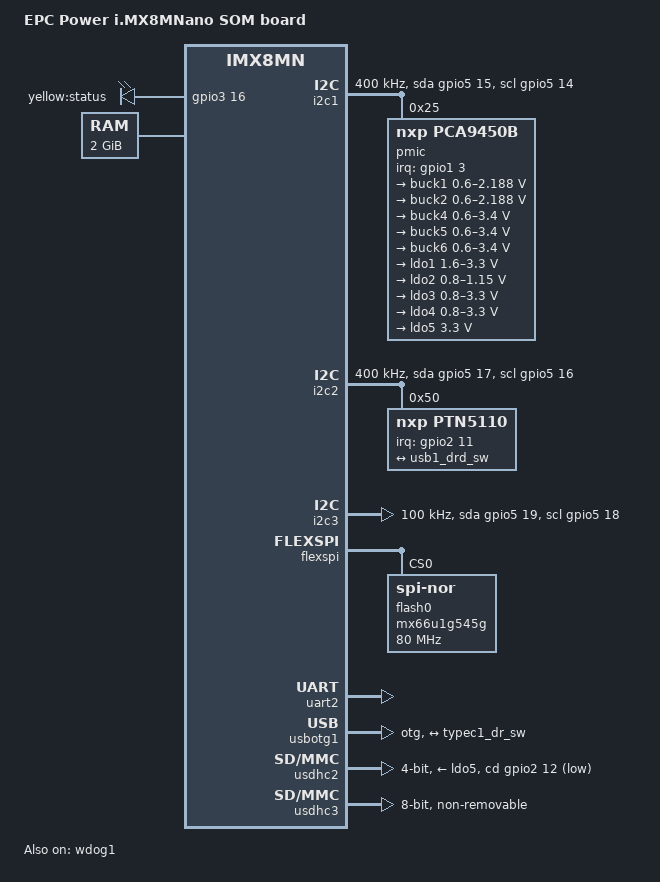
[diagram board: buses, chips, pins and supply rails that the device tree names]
// SPDX-License-Identifier: (GPL-2.0+ OR MIT)
/*
 * Copyright 2019 NXP
 * Copyright 2023 EPC Power
 */

/dts-v1/;

#include <dt-bindings/usb/pd.h>
#include <dt-bindings/net/mscc-phy-vsc8531.h>
#include <dt-bindings/interrupt-controller/irq.h>

#include "imx8mn.dtsi"

/ {
	model = "EPC Power i.MX8MNano SOM board";
	compatible = "fsl,imx8mn";

	chosen {
		bootargs = "console=ttymxc1,115200 earlycon=ec_imx6q,0x30890000,115200";
		stdout-path = &uart2;
	};

	gpio-leds {
		compatible = "gpio-leds";
		pinctrl-names = "default";
		pinctrl-0 = <&pinctrl_gpio_led>;

		status {
			label = "yellow:status";
			gpios = <&gpio3 16 GPIO_ACTIVE_HIGH>;
			default-state = "on";
		};
	};

	memory@40000000 {
		device_type = "memory";
		reg = <0x0 0x40000000 0 0x80000000>;
	};
};

&A53_0 {
	cpu-supply = <&buck2>;
};

&A53_1 {
	cpu-supply = <&buck2>;
};

&A53_2 {
	cpu-supply = <&buck2>;
};

&A53_3 {
	cpu-supply = <&buck2>;
};

&ddrc {
	operating-points-v2 = <&ddrc_opp_table>;

	ddrc_opp_table: opp-table {
		compatible = "operating-points-v2";

		opp-25M {
			opp-hz = /bits/ 64 <25000000>;
		};

		opp-100M {
			opp-hz = /bits/ 64 <100000000>;
		};

		opp-600M {
			opp-hz = /bits/ 64 <600000000>;
		};
	};
};

&fec1 {
	pinctrl-names = "default";
	pinctrl-0 = <&pinctrl_fec1>;
	phy-mode = "rgmii-id";
	phy-handle = <&ethphy0>;
	fsl,magic-packet;
	status = "disabled";

	mdio {
		#address-cells = <1>;
		#size-cells = <0>;

		ethphy0: ethernet-phy@1 {
			reg = <1>;
			compatible = "ethernet-phy-id0007.0772";
			reset-gpios = <&gpio3 21 GPIO_ACTIVE_LOW>;  /* PHY RST */
			reset-assert-us = <500>;
			reset-deassert-us = <500>;
			interrupt-parent = <&gpio4>;
			interrupts = <25 IRQ_TYPE_LEVEL_LOW>;  /* MDINT */
			vsc8531,led-0-mode = <VSC8531_LINK_100_1000_ACTIVITY>;
			vsc8531,led-1-mode = <VSC8531_LINK_ACTIVITY>;
			vsc8531,led-0-combine-disable;
		};
	};
};

&i2c1 {
	clock-frequency = <400000>;
	pinctrl-names = "default", "gpio";
	pinctrl-0 = <&pinctrl_i2c1>;
	pinctrl-1 = <&pinctrl_i2c1_gpio>;
	scl-gpios = <&gpio5 14 GPIO_ACTIVE_HIGH>;
	sda-gpios = <&gpio5 15 GPIO_ACTIVE_HIGH>;
	status = "okay";

	pmic: pca9450@25 {
		compatible = "nxp,pca9450b";
		reg = <0x25>;
		pinctrl-names = "default";
		pinctrl-0 = <&pinctrl_pmic>;
		interrupt-parent = <&gpio1>;
		interrupts = <3 IRQ_TYPE_LEVEL_LOW>;

		regulators {
			buck1: BUCK1{
				regulator-name = "BUCK1";
				regulator-min-microvolt = <600000>;
				regulator-max-microvolt = <2187500>;
				regulator-boot-on;
				regulator-always-on;
				regulator-ramp-delay = <3125>;
			};

			buck2: BUCK2 {
				regulator-name = "BUCK2";
				regulator-min-microvolt = <600000>;
				regulator-max-microvolt = <2187500>;
				regulator-boot-on;
				regulator-always-on;
				regulator-ramp-delay = <3125>;
				nxp,dvs-run-voltage = <950000>;
				nxp,dvs-standby-voltage = <850000>;
			};

			buck4: BUCK4{
				regulator-name = "BUCK4";
				regulator-min-microvolt = <600000>;
				regulator-max-microvolt = <3400000>;
				regulator-boot-on;
				regulator-always-on;
			};

			buck5: BUCK5{
				regulator-name = "BUCK5";
				regulator-min-microvolt = <600000>;
				regulator-max-microvolt = <3400000>;
				regulator-boot-on;
				regulator-always-on;
			};

			buck6: BUCK6 {
				regulator-name = "BUCK6";
				regulator-min-microvolt = <600000>;
				regulator-max-microvolt = <3400000>;
				regulator-boot-on;
				regulator-always-on;
			};

			ldo1: LDO1 {
				regulator-name = "LDO1";
				regulator-min-microvolt = <1600000>;
				regulator-max-microvolt = <3300000>;
				regulator-boot-on;
				regulator-always-on;
			};

			ldo2: LDO2 {
				regulator-name = "LDO2";
				regulator-min-microvolt = <800000>;
				regulator-max-microvolt = <1150000>;
				regulator-boot-on;
				regulator-always-on;
			};

			ldo3: LDO3 {
				regulator-name = "LDO3";
				regulator-min-microvolt = <800000>;
				regulator-max-microvolt = <3300000>;
				regulator-boot-on;
				regulator-always-on;
			};

			ldo4: LDO4 {
				regulator-name = "LDO4";
				regulator-min-microvolt = <800000>;
				regulator-max-microvolt = <3300000>;
				regulator-boot-on;
				regulator-always-on;
			};

			ldo5: LDO5 {
				regulator-name = "LDO5";
				regulator-min-microvolt = <3300000>;
				regulator-max-microvolt = <3300000>;
				regulator-boot-on;
				regulator-always-on;
			};
		};
	};
};

&i2c2 {
	clock-frequency = <400000>;
	pinctrl-names = "default", "gpio";
	pinctrl-0 = <&pinctrl_i2c2>;
	pinctrl-1 = <&pinctrl_i2c2_gpio>;
	scl-gpios = <&gpio5 16 GPIO_ACTIVE_HIGH>;
	sda-gpios = <&gpio5 17 GPIO_ACTIVE_HIGH>;
	status = "okay";

	ptn5110: tcpc@50 {
		compatible = "nxp,ptn5110";
		pinctrl-names = "default";
		pinctrl-0 = <&pinctrl_typec1>;
		reg = <0x50>;
		interrupt-parent = <&gpio2>;
		interrupts = <11 IRQ_TYPE_LEVEL_LOW>;
		status = "okay";

		port {
			typec1_dr_sw: endpoint {
				remote-endpoint = <&usb1_drd_sw>;
			};
		};

		typec1_con: connector {
			compatible = "usb-c-connector";
			label = "USB-C";
			power-role = "dual";
			data-role = "dual";
			try-power-role = "sink";
			source-pdos = <PDO_FIXED(5000, 3000, PDO_FIXED_USB_COMM)>;
			sink-pdos = <PDO_FIXED(5000, 3000, PDO_FIXED_USB_COMM)
				     PDO_VAR(5000, 20000, 3000)>;
			op-sink-microwatt = <15000000>;
			self-powered;
		};
	};
};

&i2c3 {
	clock-frequency = <100000>;
	pinctrl-names = "default", "gpio";
	pinctrl-0 = <&pinctrl_i2c3>;
	pinctrl-1 = <&pinctrl_i2c3_gpio>;
	scl-gpios = <&gpio5 18 GPIO_ACTIVE_HIGH>;
	sda-gpios = <&gpio5 19 GPIO_ACTIVE_HIGH>;
	status = "okay";
};

&flexspi {
	pinctrl-names = "default";
	pinctrl-0 = <&pinctrl_flexspi0>;
	status = "okay";

	flash0: mx66u1g545g@0 {
		reg = <0>;
		#address-cells = <1>;
		#size-cells = <1>;
		compatible = "jedec,spi-nor";
		spi-max-frequency = <80000000>;
		spi-tx-bus-width = <1>;
		spi-rx-bus-width = <4>;
	};
};

&uart2 { /* console */
	pinctrl-names = "default";
	pinctrl-0 = <&pinctrl_uart2>;
	status = "okay";
};

&usbotg1 {
	dr_mode = "otg";
	hnp-disable;
	srp-disable;
	adp-disable;
	usb-role-switch;
	disable-over-current;
	samsung,picophy-pre-emp-curr-control = <3>;
	samsung,picophy-dc-vol-level-adjust = <7>;
	status = "okay";
	extcon = <&ptn5110>;

	port {
		usb1_drd_sw: endpoint {
			remote-endpoint = <&typec1_dr_sw>;
		};
	};
};

&usdhc2 {
	assigned-clocks = <&clk IMX8MN_CLK_USDHC2>;
	assigned-clock-rates = <200000000>;
	pinctrl-names = "default", "state_100mhz", "state_200mhz";
	pinctrl-0 = <&pinctrl_usdhc2>, <&pinctrl_usdhc2_gpio>;
	pinctrl-1 = <&pinctrl_usdhc2_100mhz>, <&pinctrl_usdhc2_gpio>;
	pinctrl-2 = <&pinctrl_usdhc2_200mhz>, <&pinctrl_usdhc2_gpio>;
	cd-gpios = <&gpio2 12 GPIO_ACTIVE_LOW>;
	disable-wp;
	no-1-8-v;
	bus-width = <4>;
	vmmc-supply = <&ldo5>;
	status = "okay";
};

&usdhc3 {
	assigned-clocks = <&clk IMX8MN_CLK_USDHC3_ROOT>;
	assigned-clock-rates = <400000000>;
	pinctrl-names = "default", "state_100mhz", "state_200mhz";
	pinctrl-0 = <&pinctrl_usdhc3>;
	pinctrl-1 = <&pinctrl_usdhc3_100mhz>;
	pinctrl-2 = <&pinctrl_usdhc3_200mhz>;
	bus-width = <8>;
	non-removable;
	status = "okay";
};

&wdog1 {
	pinctrl-names = "default";
	pinctrl-0 = <&pinctrl_wdog>;
	fsl,ext-reset-output;
	status = "okay";
};

&iomuxc {
	pinctrl_fec1: fec1grp {
		fsl,pins = <
			MX8MN_IOMUXC_ENET_MDC_ENET1_MDC				0x3
			MX8MN_IOMUXC_ENET_MDIO_ENET1_MDIO			0x3
			MX8MN_IOMUXC_ENET_TD3_ENET1_RGMII_TD3		0x11f
			MX8MN_IOMUXC_ENET_TD2_ENET1_RGMII_TD2		0x11f
			MX8MN_IOMUXC_ENET_TD1_ENET1_RGMII_TD1		0x11f
			MX8MN_IOMUXC_ENET_TD0_ENET1_RGMII_TD0		0x11f
			MX8MN_IOMUXC_ENET_RD3_ENET1_RGMII_RD3		0x81
			MX8MN_IOMUXC_ENET_RD2_ENET1_RGMII_RD2		0x81
			MX8MN_IOMUXC_ENET_RD1_ENET1_RGMII_RD1		0x81
			MX8MN_IOMUXC_ENET_RD0_ENET1_RGMII_RD0		0x81
			MX8MN_IOMUXC_ENET_TXC_ENET1_RGMII_TXC		0x11f
			MX8MN_IOMUXC_ENET_RXC_ENET1_RGMII_RXC		0x81
			MX8MN_IOMUXC_ENET_RX_CTL_ENET1_RGMII_RX_CTL	0x81
			MX8MN_IOMUXC_ENET_TX_CTL_ENET1_RGMII_TX_CTL	0x11f
			MX8MN_IOMUXC_SAI5_RXD0_GPIO3_IO21			0x119  /* PHY RST */
			MX8MN_IOMUXC_SAI2_TXC_GPIO4_IO25			0x29   /* MDINT */
		>;
	};

	pinctrl_flexspi0: flexspi0grp {
		fsl,pins = <
			MX8MN_IOMUXC_NAND_ALE_QSPI_A_SCLK 0x1c4
			MX8MN_IOMUXC_NAND_CE0_B_QSPI_A_SS0_B 0x84
			MX8MN_IOMUXC_NAND_DQS_QSPI_A_DQS 0x40000084
			MX8MN_IOMUXC_NAND_DATA00_QSPI_A_DATA0 0x84
			MX8MN_IOMUXC_NAND_DATA01_QSPI_A_DATA1 0x84
			MX8MN_IOMUXC_NAND_DATA02_QSPI_A_DATA2 0x84
			MX8MN_IOMUXC_NAND_DATA03_QSPI_A_DATA3 0x84
		>;
	};

	pinctrl_gpio_led: gpioledgrp {
		fsl,pins = <
			MX8MN_IOMUXC_NAND_READY_B_GPIO3_IO16	0x19
		>;
	};

	pinctrl_ir: irgrp {
		fsl,pins = <
			MX8MN_IOMUXC_GPIO1_IO13_GPIO1_IO13              0x4f
		>;
	};

	pinctrl_i2c1: i2c1grp {
		fsl,pins = <
			MX8MN_IOMUXC_I2C1_SCL_I2C1_SCL		0x400001c3
			MX8MN_IOMUXC_I2C1_SDA_I2C1_SDA		0x400001c3
		>;
	};

	pinctrl_i2c2: i2c2grp {
		fsl,pins = <
			MX8MN_IOMUXC_I2C2_SCL_I2C2_SCL		0x400001c3
			MX8MN_IOMUXC_I2C2_SDA_I2C2_SDA		0x400001c3
		>;
	};

	pinctrl_i2c3: i2c3grp {
		fsl,pins = <
			MX8MN_IOMUXC_I2C3_SCL_I2C3_SCL		0x400001c3
			MX8MN_IOMUXC_I2C3_SDA_I2C3_SDA		0x400001c3
		>;
	};

	pinctrl_i2c1_gpio: i2c1grp-gpio {
		fsl,pins = <
			MX8MN_IOMUXC_I2C1_SCL_GPIO5_IO14        	0x1c3
			MX8MN_IOMUXC_I2C1_SDA_GPIO5_IO15        	0x1c3
		>;
	};

	pinctrl_i2c2_gpio: i2c2grp-gpio {
		fsl,pins = <
			MX8MN_IOMUXC_I2C2_SCL_GPIO5_IO16		0x1c3
			MX8MN_IOMUXC_I2C2_SDA_GPIO5_IO17		0x1c3
		>;
	};

	pinctrl_i2c3_gpio: i2c3grp-gpio {
		fsl,pins = <
			MX8MN_IOMUXC_I2C3_SCL_GPIO5_IO18		0x1c3
			MX8MN_IOMUXC_I2C3_SDA_GPIO5_IO19		0x1c3
		>;
	};

	pinctrl_pmic: pmicirqgrp {
		fsl,pins = <
			MX8MN_IOMUXC_GPIO1_IO03_GPIO1_IO3	0x141
		>;
	};

	pinctrl_typec1: typec1grp {
		fsl,pins = <
			MX8MN_IOMUXC_SD1_STROBE_GPIO2_IO11	0x159
		>;
	};

	pinctrl_uart2: uart2grp {
		fsl,pins = <
			MX8MN_IOMUXC_UART2_RXD_UART2_DCE_RX	0x140
			MX8MN_IOMUXC_UART2_TXD_UART2_DCE_TX	0x140
		>;
	};

	pinctrl_usdhc2_gpio: usdhc2gpiogrp {
		fsl,pins = <
			MX8MN_IOMUXC_SD2_CD_B_GPIO2_IO12	0x41
			MX8MN_IOMUXC_SD2_RESET_B_GPIO2_IO19	0x41
		>;
	};

	pinctrl_usdhc2: usdhc2grp {
		fsl,pins = <
			MX8MN_IOMUXC_SD2_CLK_USDHC2_CLK		0x190
			MX8MN_IOMUXC_SD2_CMD_USDHC2_CMD		0x1d0
			MX8MN_IOMUXC_SD2_DATA0_USDHC2_DATA0	0x1d0
			MX8MN_IOMUXC_SD2_DATA1_USDHC2_DATA1	0x1d0
			MX8MN_IOMUXC_SD2_DATA2_USDHC2_DATA2	0x1d0
			MX8MN_IOMUXC_SD2_DATA3_USDHC2_DATA3	0x1d0
			MX8MN_IOMUXC_GPIO1_IO04_USDHC2_VSELECT	0x41
		>;
	};

	pinctrl_usdhc2_100mhz: usdhc2-100mhzgrp {
		fsl,pins = <
			MX8MN_IOMUXC_SD2_CLK_USDHC2_CLK		0x194
			MX8MN_IOMUXC_SD2_CMD_USDHC2_CMD		0x1d4
			MX8MN_IOMUXC_SD2_DATA0_USDHC2_DATA0	0x1d4
			MX8MN_IOMUXC_SD2_DATA1_USDHC2_DATA1	0x1d4
			MX8MN_IOMUXC_SD2_DATA2_USDHC2_DATA2	0x1d4
			MX8MN_IOMUXC_SD2_DATA3_USDHC2_DATA3	0x1d4
			MX8MN_IOMUXC_GPIO1_IO04_USDHC2_VSELECT	0x41
		>;
	};

	pinctrl_usdhc2_200mhz: usdhc2-200mhzgrp {
		fsl,pins = <
			MX8MN_IOMUXC_SD2_CLK_USDHC2_CLK		0x196
			MX8MN_IOMUXC_SD2_CMD_USDHC2_CMD		0x1d6
			MX8MN_IOMUXC_SD2_DATA0_USDHC2_DATA0	0x1d6
			MX8MN_IOMUXC_SD2_DATA1_USDHC2_DATA1	0x1d6
			MX8MN_IOMUXC_SD2_DATA2_USDHC2_DATA2	0x1d6
			MX8MN_IOMUXC_SD2_DATA3_USDHC2_DATA3	0x1d6
			MX8MN_IOMUXC_GPIO1_IO04_USDHC2_VSELECT	0x41
		>;
	};

	pinctrl_usdhc3: usdhc3grp {
		fsl,pins = <
			MX8MN_IOMUXC_NAND_WE_B_USDHC3_CLK		0x40000190
			MX8MN_IOMUXC_NAND_WP_B_USDHC3_CMD		0x1d0
			MX8MN_IOMUXC_NAND_DATA04_USDHC3_DATA0		0x1d0
			MX8MN_IOMUXC_NAND_DATA05_USDHC3_DATA1		0x1d0
			MX8MN_IOMUXC_NAND_DATA06_USDHC3_DATA2		0x1d0
			MX8MN_IOMUXC_NAND_DATA07_USDHC3_DATA3		0x1d0
			MX8MN_IOMUXC_NAND_RE_B_USDHC3_DATA4		0x1d0
			MX8MN_IOMUXC_NAND_CE2_B_USDHC3_DATA5		0x1d0
			MX8MN_IOMUXC_NAND_CE3_B_USDHC3_DATA6		0x1d0
			MX8MN_IOMUXC_NAND_CLE_USDHC3_DATA7		0x1d0
			MX8MN_IOMUXC_NAND_CE1_B_USDHC3_STROBE		0x190
		>;
	};

	pinctrl_usdhc3_100mhz: usdhc3-100mhzgrp {
		fsl,pins = <
			MX8MN_IOMUXC_NAND_WE_B_USDHC3_CLK		0x40000194
			MX8MN_IOMUXC_NAND_WP_B_USDHC3_CMD		0x1d4
			MX8MN_IOMUXC_NAND_DATA04_USDHC3_DATA0		0x1d4
			MX8MN_IOMUXC_NAND_DATA05_USDHC3_DATA1		0x1d4
			MX8MN_IOMUXC_NAND_DATA06_USDHC3_DATA2		0x1d4
			MX8MN_IOMUXC_NAND_DATA07_USDHC3_DATA3		0x1d4
			MX8MN_IOMUXC_NAND_RE_B_USDHC3_DATA4		0x1d4
			MX8MN_IOMUXC_NAND_CE2_B_USDHC3_DATA5		0x1d4
			MX8MN_IOMUXC_NAND_CE3_B_USDHC3_DATA6		0x1d4
			MX8MN_IOMUXC_NAND_CLE_USDHC3_DATA7		0x1d4
			MX8MN_IOMUXC_NAND_CE1_B_USDHC3_STROBE		0x194
		>;
	};

	pinctrl_usdhc3_200mhz: usdhc3-200mhzgrp {
		fsl,pins = <
			MX8MN_IOMUXC_NAND_WE_B_USDHC3_CLK		0x40000196
			MX8MN_IOMUXC_NAND_WP_B_USDHC3_CMD		0x1d6
			MX8MN_IOMUXC_NAND_DATA04_USDHC3_DATA0		0x1d6
			MX8MN_IOMUXC_NAND_DATA05_USDHC3_DATA1		0x1d6
			MX8MN_IOMUXC_NAND_DATA06_USDHC3_DATA2		0x1d6
			MX8MN_IOMUXC_NAND_DATA07_USDHC3_DATA3		0x1d6
			MX8MN_IOMUXC_NAND_RE_B_USDHC3_DATA4		0x1d6
			MX8MN_IOMUXC_NAND_CE2_B_USDHC3_DATA5		0x1d6
			MX8MN_IOMUXC_NAND_CE3_B_USDHC3_DATA6		0x1d6
			MX8MN_IOMUXC_NAND_CLE_USDHC3_DATA7		0x1d6
			MX8MN_IOMUXC_NAND_CE1_B_USDHC3_STROBE		0x196
		>;
	};

	pinctrl_wdog: wdoggrp {
		fsl,pins = <
			MX8MN_IOMUXC_GPIO1_IO02_WDOG1_WDOG_B		0x166
		>;
	};
};
